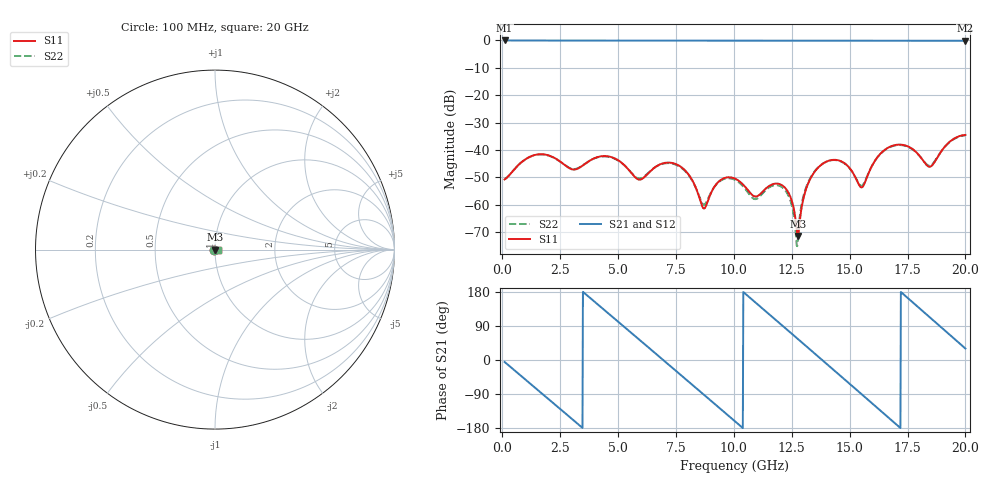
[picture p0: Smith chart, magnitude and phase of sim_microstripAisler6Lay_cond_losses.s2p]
#  Hz  S  RI  R  50
!  Microstrip line with via fence on Aisler 6 layer HD stackup
!  Line length = combLineTabbed6G_2xthru (54.2mm) - SMA_Rosenbergerv2 fixture (28.9mm) = 23.5mm
!  Conductor losses only
!  Paramter List:
!  lossySubstrate = 0, Flag that indicates if substrate losses were enabled
!  lossyCondSheet = 1, Flag that indicates if the zero thickness conducting sheet model was used
!  w50 = 0.65, Width of the 50Ohm line
!  w50gndfree = 1.225, Seperation between RF trace edges to GND planes
!  lineLength = 23.5, Length of the microstrip transmission line
!  portLength = 8,
!  measPlaneShiftP1 = 8,
!  measPlaneShiftP2 = 8,
!  feedShift = 3.74741,
!  numViasX = 55,
!  pcbX = 39.5,
!  pcbY = 25,
!  stackupL01th = 0,
!  stackupSub01th = 0.13626,
!  stackupL02th = 0,
!  stackupSub02th = 0.2,
!  stackupL03th = 0,
!  viaD03 = 0.3,
!  viaCpD03 = 0.6,
!  viaClearD03 = 1,
!  viaPitch = 0.6,
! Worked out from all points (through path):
!   1001 points, 100 MHz to 20 GHz, reference 50 ohm
!   highest |S21| = 0.00 dB at 100 MHz (marker M1); lowest = -0.1 dB at 20 GHz (marker M2)
!   group delay of S21, straight-line fit = 146 ps
!   lowest |S11| = -71.4 dB at 12.76 GHz (marker M3), VSWR 1.00, Z = 50 + j0.00552 ohm
!   |S11| at or under -10 dB: start of sweep to end of sweep
!   |S22| runs from -75.1 to -34.7 dB; largest |S21 - S12| = 0.00078
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1e8  -0.00286 -0.000494  0.9955 -0.0909  0.9955 -0.091  -0.00289 -0.000487
1.7517e9  -0.0083 -0.000793  -0.0114 -0.9973  -0.0116 -0.9966  -0.00823 -0.000781
3.4233e9  -0.00472 -0.00169  -0.9937 -0.0508  -0.9931 -0.0511  -0.0048 -0.00164
5.1347e9  -0.00564 0.00183  -0.0745 0.9909  -0.0748 0.9909  -0.0056 0.00171
5.9108e9  -0.00287 -0.00016  0.5835 0.8042  0.5836 0.8041  -0.00299 -0.000185
6.7466e9  -0.00492 -0.00197  0.9761 0.1825  0.9762 0.1825  -0.0049 -0.00184
7.7615e9  -0.00449 0.00156  0.7347 -0.6674  0.7348 -0.6674  -0.00438 0.00146
8.4978e9  -0.0012 0.000727  0.161 -0.9792  0.1611 -0.979  -0.00131 0.000629
8.7366e9  -0.000825 -0.000244  -0.0542 -0.9907  -0.0541 -0.9907  -0.000971 -0.000273
1.005e10  -0.00299 -8.23e-05  -0.9422 -0.3092  -0.9421 -0.3092  -0.00284 -1.36e-05
1.09654e10  0.000725 0.00121  -0.8598 0.4931  -0.8597 0.4932  0.000724 0.00104
1.21196e10  0.000584 -0.00213  0.00899 0.9905  0.00899 0.9906  0.000501 -0.00197
1.27564e10  -0.000264 5.52e-05  0.5548 0.8203  0.5548 0.8203  -0.000106 0.00019
1.30151e10  0.000567 0.00123  0.7326 0.6662  0.7326 0.6662  0.000775 0.00127
1.33733e10  0.00269 0.00203  0.9088 0.3927  0.9088 0.3927  0.00288 0.00193
1.4229e10  0.00639 -0.00147  0.9183 -0.3687  0.9183 -0.3687  0.00631 -0.00159
1.52041e10  0.0024 -0.00247  0.2799 -0.9487  0.2799 -0.9486  0.00246 -0.0024
1.55623e10  0.00212 4.23e-05  -0.0446 -0.9879  -0.0445 -0.9879  0.00227 3.15e-05
1.66966e10  0.0111 0.00151  -0.8801 -0.4498  -0.8799 -0.4499  0.011 0.00131
1.75722e10  0.00994 -0.00544  -0.9301 0.3319  -0.9301 0.332  0.00981 -0.00529
1.85473e10  0.00514 0.000382  -0.3085 0.938  -0.3086 0.9381  0.00537 0.000324
2e10  0.0187 -0.00202  0.852 0.4972  0.852 0.4972  0.0184 -0.00206
